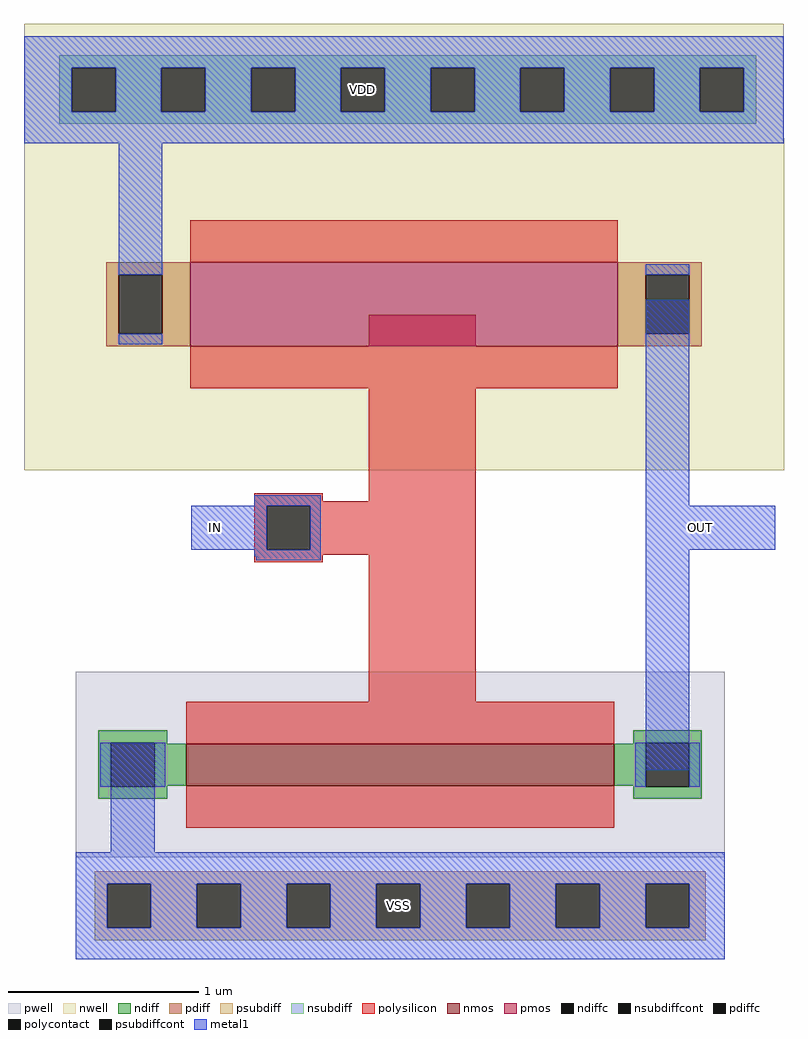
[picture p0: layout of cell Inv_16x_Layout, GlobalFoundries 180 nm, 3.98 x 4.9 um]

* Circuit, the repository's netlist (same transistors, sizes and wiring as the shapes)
* NGSPICE file created from Inv_16x_Layout.ext - technology: gf180mcuC

.subckt nmos_3p3_T3QPFJ a_n316_n36# a_224_n22# a_n224_n66# VSUBS
X0 a_224_n22# a_n224_n66# a_n316_n36# VSUBS nfet_03v3 ad=0.152p pd=1.64u as=0.152p ps=1.64u w=0.22u l=2.24u
.ends

.subckt pmos_3p3_HYFKQ3 w_n398_n174# a_n312_n44# a_224_n44# a_n224_n88#
X0 a_224_n44# a_n224_n88# a_n312_n44# w_n398_n174# pfet_03v3 ad=0.194p pd=1.76u as=0.194p ps=1.76u w=0.44u l=2.24u
.ends

.subckt Inv_16x_Layout IN OUT VSS VDD
Xnmos_3p3_T3QPFJ_0 VSS OUT IN VSS nmos_3p3_T3QPFJ
Xpmos_3p3_HYFKQ3_0 VDD VDD OUT IN pmos_3p3_HYFKQ3
.ends

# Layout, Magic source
magic
tech gf180mcuC
magscale 1 10
<< nwell >>
rect -58 753 738 873
rect -57 748 738 753
rect -58 558 -57 683
<< psubdiff >>
rect 16 -28 656 -15
rect 16 -74 29 -28
rect 75 -74 123 -28
rect 169 -74 217 -28
rect 263 -74 311 -28
rect 357 -74 405 -28
rect 451 -74 499 -28
rect 545 -74 593 -28
rect 639 -74 656 -28
rect 16 -87 656 -74
<< nsubdiff >>
rect -21 827 709 840
rect -21 781 -8 827
rect 38 781 86 827
rect 132 781 180 827
rect 226 781 274 827
rect 320 781 368 827
rect 414 781 462 827
rect 508 781 556 827
rect 602 781 650 827
rect 696 781 709 827
rect -21 768 709 781
<< psubdiffcont >>
rect 29 -74 75 -28
rect 123 -74 169 -28
rect 217 -74 263 -28
rect 311 -74 357 -28
rect 405 -74 451 -28
rect 499 -74 545 -28
rect 593 -74 639 -28
<< nsubdiffcont >>
rect -8 781 38 827
rect 86 781 132 827
rect 180 781 226 827
rect 274 781 320 827
rect 368 781 414 827
rect 462 781 508 827
rect 556 781 602 827
rect 650 781 696 827
<< polysilicon >>
rect 183 373 255 381
rect 303 373 415 568
rect 183 368 415 373
rect 183 322 196 368
rect 242 322 415 368
rect 183 317 415 322
rect 183 309 255 317
rect 303 163 415 317
<< polycontact >>
rect 196 322 242 368
<< metal1 >>
rect -58 827 738 860
rect -58 781 -8 827
rect 38 781 86 827
rect 132 781 180 827
rect 226 781 274 827
rect 320 781 368 827
rect 414 781 462 827
rect 508 781 556 827
rect 602 781 650 827
rect 696 781 738 827
rect -58 748 738 781
rect 41 610 87 748
rect 183 368 253 379
rect 117 322 196 368
rect 242 322 253 368
rect 183 315 253 322
rect 185 311 253 315
rect 593 368 639 584
rect 593 322 729 368
rect 33 5 79 120
rect 593 91 639 322
rect -4 -28 676 5
rect -4 -74 29 -28
rect 75 -74 123 -28
rect 169 -74 217 -28
rect 263 -74 311 -28
rect 357 -74 405 -28
rect 451 -74 499 -28
rect 545 -74 593 -28
rect 639 -74 676 -28
rect -4 -107 676 -74
use nmos_3p3_T3QPFJ  nmos_3p3_T3QPFJ_0
transform 1 0 336 0 1 97
box -340 -97 340 97
use pmos_3p3_HYFKQ3  pmos_3p3_HYFKQ3_0
transform 1 0 340 0 1 579
box -398 -174 398 174
<< labels >>
flabel psubdiffcont 334 -51 334 -51 0 FreeSans 320 0 0 0 VSS
port 4 nsew
flabel nsubdiffcont 297 804 297 804 0 FreeSans 320 0 0 0 VDD
port 5 nsew
flabel metal1 143 345 143 345 0 FreeSans 320 0 0 0 IN
port 2 nsew
flabel metal1 651 345 651 345 0 FreeSans 320 0 0 0 OUT
port 3 nsew
<< end >>

# cell nmos_3p3_T3QPFJ: kit device nmos_3p3, w 0.220 l 2.24 m 1 nf 1 diffcov 100 polycov 100 guard 0 glc 0 grc 0 gtc 0 gbc 0 tbcov 100 rlcov 100 topc 0 botc 0 poverlap 0 doverlap 1 lmin 0.28 wmin 0.22 full_metal 0 compatible {nmos_3p3 nmos_6p0 nmos_6p0_nat}

# cell pmos_3p3_HYFKQ3: kit device pmos_3p3, w 0.44 l 2.24 m 1 nf 1 diffcov 100 polycov 100 guard 0 glc 0 grc 0 gtc 0 gbc 0 tbcov 100 rlcov 100 topc 0 botc 0 poverlap 0 doverlap 1 lmin 0.28 wmin 0.22 full_metal 0 compatible {pmos_3p3 pmos_6p0}
